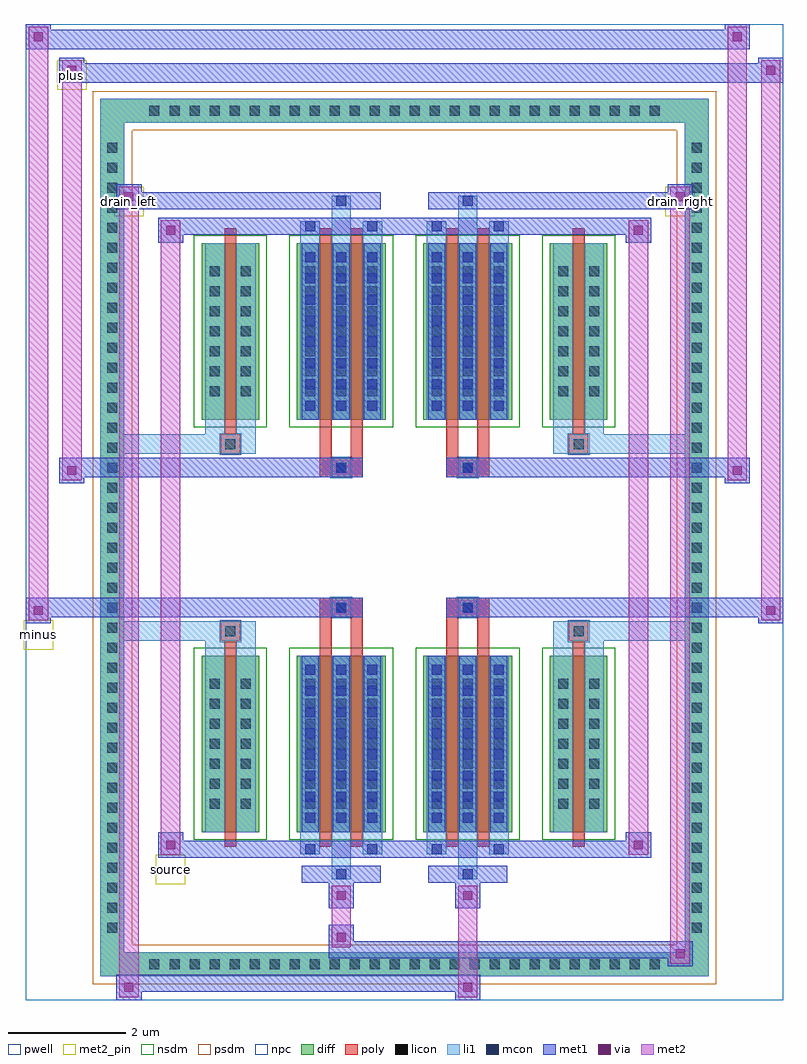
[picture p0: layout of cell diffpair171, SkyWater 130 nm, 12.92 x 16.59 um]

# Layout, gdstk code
import gdstk
lib = gdstk.Library(unit=1e-6, precision=5e-09)
def R(c, l, rs):  # rectangles x0, y0, x1, y1
    for r in rs: c.add(gdstk.rectangle(r[:2], r[2:], *l))
def A(c, l, x, y, w, h, nx, ny, dx, dy):  # array of equal rectangles
    R(c, l, [(x+i*dx, y+j*dy, x+i*dx+w, y+j*dy+h) for i in range(nx) for j in range(ny)])
def P(c, l, *ps):  # polygons
    for p in ps: c.add(gdstk.Polygon(p, *l))
pwell = (64, 44)
diff = (65, 20)
poly = (66, 20)
licon = (66, 44)
li1 = (67, 20)
mcon = (67, 44)
met1 = (68, 20)
via = (68, 44)
met2_pin = (69, 16)
met2 = (69, 20)
nsdm = (93, 44)
psdm = (94, 20)
npc = (95, 20)

diffpair171 = lib.new_cell('diffpair171')
R(diffpair171, pwell, [(-6.44,-7.86,6.44,8.73), (-3.76,-6.05,-0.01,-0.825), (0.01,-6.05,3.76,-0.825), (-3.76,0.825,-0.01,6.05), (0.01,0.825,3.76,6.05)])
A(diffpair171, diff, -4.455, -7.46, 0.41, 0.41, 26, 2, 0.34, 14.51)
A(diffpair171, diff, -5.17, -6.835, 0.41, 0.41, 1, 40, 0, 0.34)
A(diffpair171, diff, 4.76, -6.835, 0.41, 0.41, 1, 40, 0, 0.34)
R(diffpair171, diff, [(-4.455,-7.46,4.455,-7.05), (-5.17,-6.835,-4.76,6.835), (4.76,-6.835,5.17,6.835), (-3.45,-5.005,-2.47,-2.005), (-1.83,-5.005,-0.32,-2.005), (0.32,-5.005,1.83,-2.005), (2.47,-5.005,3.45,-2.005), (-3.45,2.005,-2.47,5.005), (-1.83,2.005,-0.32,5.005), (0.32,2.005,1.83,5.005), (2.47,2.005,3.45,5.005), (-4.455,7.05,4.455,7.46)])
P(diffpair171, diff, [(5.17,7.46),(-5.17,7.46),(-5.17,-7.05),(-4.76,-7.05),(-4.76,7.05),(4.76,7.05),(4.76,-7.05),(-4.76,-7.05),(-5.17,-7.05),(-5.17,-7.46),(5.17,-7.46)])
R(diffpair171, poly, [(-3.06,-5.255,-2.86,-1.755), (-1.44,-5.255,-1.24,-1.755), (-0.91,-5.255,-0.71,-1.755), (0.71,-5.255,0.91,-1.755), (1.24,-5.255,1.44,-1.755), (2.86,-5.255,3.06,-1.755), (-3.125,-1.755,-2.795,-1.425), (-3.125,-1.755,-2.795,-1.425), (-1.44,-1.755,-1.24,-1.355), (-0.91,-1.755,-0.71,-1.355), (0.71,-1.755,0.91,-1.355), (1.24,-1.755,1.44,-1.355), (2.795,-1.755,3.125,-1.425), (2.795,-1.755,3.125,-1.425), (-1.44,-1.355,-0.71,-1.025), (-1.24,-1.355,-0.91,-1.025), (0.71,-1.355,1.44,-1.025), (0.91,-1.355,1.24,-1.025), (-1.44,1.025,-0.71,1.355), (-1.24,1.025,-0.91,1.355), (0.71,1.025,1.44,1.355), (0.91,1.025,1.24,1.355), (-1.44,1.355,-1.24,1.755), (-0.91,1.355,-0.71,1.755), (0.71,1.355,0.91,1.755), (1.24,1.355,1.44,1.755), (-3.125,1.425,-2.795,1.755), (-3.125,1.425,-2.795,1.755), (2.795,1.425,3.125,1.755), (2.795,1.425,3.125,1.755), (-3.06,1.755,-2.86,5.255), (-1.44,1.755,-1.24,5.255), (-0.91,1.755,-0.71,5.255), (0.71,1.755,0.91,5.255), (1.24,1.755,1.44,5.255), (2.86,1.755,3.06,5.255)])
A(diffpair171, licon, -4.335, -7.34, 0.17, 0.17, 26, 2, 0.34, 14.51)
A(diffpair171, licon, -5.05, -6.715, 0.17, 0.17, 1, 40, 0, 0.34)
A(diffpair171, licon, 4.88, -6.715, 0.17, 0.17, 1, 40, 0, 0.34)
A(diffpair171, licon, -3.31, -4.61, 0.17, 0.17, 1, 7, 0, 0.34)
A(diffpair171, licon, -2.78, -4.61, 0.17, 0.17, 1, 7, 0, 0.34)
A(diffpair171, licon, -1.69, -4.61, 0.17, 0.17, 3, 7, 0.53, 0.34)
A(diffpair171, licon, 0.46, -4.61, 0.17, 0.17, 3, 7, 0.53, 0.34)
A(diffpair171, licon, 2.61, -4.61, 0.17, 0.17, 1, 7, 0, 0.34)
A(diffpair171, licon, 3.14, -4.61, 0.17, 0.17, 1, 7, 0, 0.34)
A(diffpair171, licon, -3.31, 2.4, 0.17, 0.17, 1, 7, 0, 0.34)
A(diffpair171, licon, -2.78, 2.4, 0.17, 0.17, 1, 7, 0, 0.34)
A(diffpair171, licon, -1.69, 2.4, 0.17, 0.17, 3, 7, 0.53, 0.34)
A(diffpair171, licon, 0.46, 2.4, 0.17, 0.17, 3, 7, 0.53, 0.34)
A(diffpair171, licon, 2.61, 2.4, 0.17, 0.17, 1, 7, 0, 0.34)
A(diffpair171, licon, 3.14, 2.4, 0.17, 0.17, 1, 7, 0, 0.34)
R(diffpair171, licon, [(-3.045,-1.675,-2.875,-1.505), (2.875,-1.675,3.045,-1.505), (-1.16,-1.275,-0.99,-1.105), (0.99,-1.275,1.16,-1.105), (-1.16,1.105,-0.99,1.275), (0.99,1.105,1.16,1.275), (-3.045,1.505,-2.875,1.675), (2.875,1.505,3.045,1.675)])
A(diffpair171, li1, -4.415, -7.42, 0.33, 0.33, 26, 2, 0.34, 14.51)
A(diffpair171, li1, -5.13, -6.795, 0.33, 0.33, 1, 40, 0, 0.34)
A(diffpair171, li1, 4.8, -6.795, 0.33, 0.33, 1, 40, 0, 0.34)
A(diffpair171, li1, -1.77, -5.005, 0.33, 3, 3, 2, 0.53, 7.01)
A(diffpair171, li1, 0.38, -5.005, 0.33, 3, 3, 2, 0.53, 7.01)
A(diffpair171, li1, -1.69, -4.85, 0.17, 0.17, 3, 8, 0.53, 0.36)
A(diffpair171, li1, -1.69, -4.85, 0.17, 2.69, 3, 2, 0.53, 7.01)
A(diffpair171, li1, 0.46, -4.85, 0.17, 0.17, 3, 8, 0.53, 0.36)
A(diffpair171, li1, 0.46, -4.85, 0.17, 2.69, 3, 2, 0.53, 7.01)
A(diffpair171, li1, -3.39, -4.69, 0.33, 0.33, 1, 7, 0, 0.34)
A(diffpair171, li1, -2.86, -4.69, 0.33, 0.33, 1, 7, 0, 0.34)
A(diffpair171, li1, -1.77, -4.69, 0.33, 0.33, 3, 7, 0.53, 0.34)
A(diffpair171, li1, 0.38, -4.69, 0.33, 0.33, 3, 7, 0.53, 0.34)
A(diffpair171, li1, 2.53, -4.69, 0.33, 0.33, 1, 7, 0, 0.34)
A(diffpair171, li1, 3.06, -4.69, 0.33, 0.33, 1, 7, 0, 0.34)
A(diffpair171, li1, -1.69, 2.16, 0.17, 0.17, 3, 8, 0.53, 0.36)
A(diffpair171, li1, 0.46, 2.16, 0.17, 0.17, 3, 8, 0.53, 0.36)
A(diffpair171, li1, -3.39, 2.32, 0.33, 0.33, 1, 7, 0, 0.34)
A(diffpair171, li1, -2.86, 2.32, 0.33, 0.33, 1, 7, 0, 0.34)
A(diffpair171, li1, -1.77, 2.32, 0.33, 0.33, 3, 7, 0.53, 0.34)
A(diffpair171, li1, 0.38, 2.32, 0.33, 0.33, 3, 7, 0.53, 0.34)
A(diffpair171, li1, 2.53, 2.32, 0.33, 0.33, 1, 7, 0, 0.34)
A(diffpair171, li1, 3.06, 2.32, 0.33, 0.33, 1, 7, 0, 0.34)
R(diffpair171, li1, [(-5.17,-7.46,-4.76,-7.05), (-5.17,-7.46,-4.76,-7.05), (-4.76,-7.46,4.76,-7.05), (4.76,-7.46,5.17,-7.05), (4.76,-7.46,5.17,-7.05), (-5.17,-7.05,-4.76,7.05), (4.76,-7.05,5.17,7.05), (-1.24,-5.81,-0.91,-5.005), (-1.16,-5.81,-0.99,-5.64), (0.91,-5.81,1.24,-5.005), (0.99,-5.81,1.16,-5.64), (-1.77,-5.38,-1.44,-5.005), (-1.69,-5.38,-1.52,-5.21), (-0.71,-5.38,-0.38,-5.005), (-0.63,-5.38,-0.46,-5.21), (0.38,-5.38,0.71,-5.005), (0.46,-5.38,0.63,-5.21), (1.44,-5.38,1.77,-5.005), (1.52,-5.38,1.69,-5.21), (-3.39,-5.005,-3.06,-2.005), (-2.86,-5.005,-2.53,-2.005), (2.53,-5.005,2.86,-2.005), (3.06,-5.005,3.39,-2.005), (-3.39,-2.005,-3.06,-1.425), (-2.86,-2.005,-2.53,-1.425), (2.53,-2.005,2.86,-1.425), (3.06,-2.005,3.39,-1.425), (-5.17,-1.755,-3.125,-1.425), (-3.39,-1.755,-3.125,-1.425), (-3.125,-1.755,-2.795,-1.425), (-2.795,-1.755,-2.53,-1.425), (2.53,-1.755,2.795,-1.425), (2.795,-1.755,3.125,-1.425), (2.795,-1.755,5.17,-1.425), (3.125,-1.755,3.39,-1.425), (-1.24,-1.355,-0.91,-1.025), (0.91,-1.355,1.24,-1.025), (-1.24,1.025,-0.91,1.355), (0.91,1.025,1.24,1.355), (-5.17,1.425,-3.125,1.755), (-3.39,1.425,-3.125,1.755), (-3.39,1.425,-3.06,2.005), (-3.125,1.425,-2.795,1.755), (-2.86,1.425,-2.53,2.005), (-2.795,1.425,-2.53,1.755), (2.53,1.425,2.795,1.755), (2.53,1.425,2.86,2.005), (2.795,1.425,3.125,1.755), (2.795,1.425,5.17,1.755), (3.06,1.425,3.39,2.005), (3.125,1.425,3.39,1.755), (-3.39,2.005,-3.06,5.005), (-2.86,2.005,-2.53,5.005), (2.53,2.005,2.86,5.005), (3.06,2.005,3.39,5.005), (-1.77,5.005,-1.44,5.38), (-1.24,5.005,-0.91,5.81), (-0.71,5.005,-0.38,5.38), (0.38,5.005,0.71,5.38), (0.91,5.005,1.24,5.81), (1.44,5.005,1.77,5.38), (-1.69,5.21,-1.52,5.38), (-0.63,5.21,-0.46,5.38), (0.46,5.21,0.63,5.38), (1.52,5.21,1.69,5.38), (-1.16,5.64,-0.99,5.81), (0.99,5.64,1.16,5.81), (-5.17,7.05,-4.76,7.46), (-5.17,7.05,-4.76,7.46), (-4.76,7.05,4.76,7.46), (4.76,7.05,5.17,7.46), (4.76,7.05,5.17,7.46)])
A(diffpair171, mcon, -1.69, -4.85, 0.17, 0.17, 3, 8, 0.53, 0.36)
A(diffpair171, mcon, 0.46, -4.85, 0.17, 0.17, 3, 8, 0.53, 0.36)
A(diffpair171, mcon, -1.69, 2.16, 0.17, 0.17, 3, 8, 0.53, 0.36)
A(diffpair171, mcon, 0.46, 2.16, 0.17, 0.17, 3, 8, 0.53, 0.36)
R(diffpair171, mcon, [(-1.16,-5.81,-0.99,-5.64), (0.99,-5.81,1.16,-5.64), (-1.69,-5.38,-1.52,-5.21), (-0.63,-5.38,-0.46,-5.21), (0.46,-5.38,0.63,-5.21), (1.52,-5.38,1.69,-5.21), (-1.16,-1.275,-0.99,-1.105), (0.99,-1.275,1.16,-1.105), (-1.16,1.105,-0.99,1.275), (0.99,1.105,1.16,1.275), (-1.69,5.21,-1.52,5.38), (-0.63,5.21,-0.46,5.38), (0.46,5.21,0.63,5.38), (1.52,5.21,1.69,5.38), (-1.16,5.64,-0.99,5.81), (0.99,5.64,1.16,5.81)])
A(diffpair171, met1, -1.75, -5.005, 0.29, 3, 3, 2, 0.53, 7.01)
A(diffpair171, met1, 0.4, -5.005, 0.29, 3, 3, 2, 0.53, 7.01)
A(diffpair171, met1, -1.75, -4.91, 0.29, 0.29, 3, 8, 0.53, 0.36)
A(diffpair171, met1, 0.4, -4.91, 0.29, 0.29, 3, 8, 0.53, 0.36)
A(diffpair171, met1, -1.75, 2.1, 0.29, 0.29, 3, 8, 0.53, 0.36)
A(diffpair171, met1, 0.4, 2.1, 0.29, 0.29, 3, 8, 0.53, 0.36)
R(diffpair171, met1, [(-4.9,-7.86,-4.47,-7.43), (0.86,-7.86,1.29,-7.43), (-4.9,-7.72,1.29,-7.43), (4.47,-7.29,4.9,-6.86), (-1.29,-7.15,4.9,-6.86), (-1.29,-7.01,-0.86,-6.58), (-1.29,-6.3,-0.86,-5.87), (0.86,-6.3,1.29,-5.87), (-1.75,-5.87,-0.4,-5.58), (-1.22,-5.87,-0.93,-5.58), (0.4,-5.87,1.75,-5.58), (0.93,-5.87,1.22,-5.58), (-4.19,-5.44,-3.76,-5.01), (-4.19,-5.44,-1.75,-5.15), (-1.75,-5.44,-1.46,-5.15), (-1.75,-5.44,-0.4,-5.15), (-0.69,-5.44,-0.4,-5.15), (-0.4,-5.44,0.4,-5.15), (0.4,-5.44,0.69,-5.15), (0.4,-5.44,1.75,-5.15), (1.46,-5.44,1.75,-5.15), (1.75,-5.44,4.19,-5.15), (3.76,-5.44,4.19,-5.01), (-6.44,-1.455,-6.01,-1.025), (6.01,-1.455,6.44,-1.025), (-6.44,-1.355,-0.71,-1.025), (-1.44,-1.355,-0.71,-1.025), (0.71,-1.355,1.44,-1.025), (0.71,-1.355,6.44,-1.025), (-1.22,-1.335,-0.93,-1.045), (0.93,-1.335,1.22,-1.045), (-5.87,0.925,-5.44,1.355), (5.44,0.925,5.87,1.355), (-5.87,1.025,-1.44,1.355), (-1.44,1.025,-0.71,1.355), (0.71,1.025,1.44,1.355), (1.44,1.025,5.87,1.355), (-1.22,1.045,-0.93,1.335), (0.93,1.045,1.22,1.335), (-4.19,5.01,-3.76,5.44), (3.76,5.01,4.19,5.44), (-4.19,5.15,-1.75,5.44), (-1.75,5.15,-1.46,5.44), (-1.75,5.15,-0.4,5.44), (-0.69,5.15,-0.4,5.44), (-0.4,5.15,0.4,5.44), (0.4,5.15,0.69,5.44), (0.4,5.15,1.75,5.44), (1.46,5.15,1.75,5.44), (1.75,5.15,4.19,5.44), (-4.9,5.58,-4.47,6.01), (-4.9,5.58,-1.75,5.87), (-1.75,5.58,-0.4,5.87), (-1.22,5.58,-0.93,5.87), (0.4,5.58,1.75,5.87), (0.93,5.58,1.22,5.87), (1.75,5.58,4.9,5.87), (4.47,5.58,4.9,6.01), (-5.87,7.73,-5.44,8.16), (-5.87,7.73,-3.76,8.06), (-3.76,7.73,3.76,8.06), (3.76,7.73,6.44,8.06), (6.01,7.73,6.44,8.16), (-6.44,8.3,-6.01,8.73), (-6.44,8.3,-3.76,8.63), (-3.76,8.3,3.76,8.63), (3.76,8.3,5.87,8.63), (5.44,8.3,5.87,8.73)])
R(diffpair171, via, [(-4.76,-7.72,-4.61,-7.57), (1,-7.72,1.15,-7.57), (4.61,-7.15,4.76,-7), (-1.15,-6.87,-1,-6.72), (-1.15,-6.16,-1,-6.01), (1,-6.16,1.15,-6.01), (-4.05,-5.3,-3.9,-5.15), (3.9,-5.3,4.05,-5.15), (-6.3,-1.315,-6.15,-1.165), (6.15,-1.315,6.3,-1.165), (-5.73,1.065,-5.58,1.215), (5.58,1.065,5.73,1.215), (-4.05,5.15,-3.9,5.3), (3.9,5.15,4.05,5.3), (-4.76,5.72,-4.61,5.87), (4.61,5.72,4.76,5.87), (-5.73,7.87,-5.58,8.02), (6.15,7.87,6.3,8.02), (-6.3,8.44,-6.15,8.59), (5.58,8.44,5.73,8.59)])
R(diffpair171, met2_pin, [(-4.225,-5.89,-3.725,-5.39), (-6.475,-1.905,-5.975,-1.405), (-4.935,5.46,-4.435,5.96), (4.435,5.46,4.935,5.96), (-5.905,7.61,-5.405,8.11)])
R(diffpair171, met2, [(-4.85,-7.81,-4.52,-7.48), (-4.85,-7.81,-4.52,5.96), (0.91,-7.81,1.24,-7.48), (0.91,-7.48,1.24,-6.25), (4.52,-7.24,4.85,-6.91), (4.52,-7.24,4.85,5.96), (-1.24,-6.96,-0.91,-6.63), (-1.24,-6.63,-0.91,-6.25), (-1.24,-6.25,-0.91,-5.92), (0.91,-6.25,1.24,-5.92), (-4.14,-5.39,-3.81,-5.06), (-4.14,-5.39,-3.81,5.39), (3.81,-5.39,4.14,-5.06), (3.81,-5.39,4.14,5.39), (-6.39,-1.405,-6.06,-1.075), (-6.39,-1.405,-6.06,8.68), (6.06,-1.405,6.39,-1.075), (6.06,-1.405,6.39,8.11), (-5.82,0.975,-5.49,1.305), (-5.82,0.975,-5.49,8.11), (5.49,0.975,5.82,1.305), (5.49,0.975,5.82,8.68), (-4.14,5.06,-3.81,5.39), (3.81,5.06,4.14,5.39), (-4.85,5.63,-4.52,5.96), (4.52,5.63,4.85,5.96), (-5.82,7.78,-5.49,8.11), (6.06,7.78,6.39,8.11), (-6.39,8.35,-6.06,8.68), (5.49,8.35,5.82,8.68)])
P(diffpair171, met2, [(6.39,-1.405),(6.39,-1.405),(6.39,-1.075),(6.39,-1.075)],
  [(6.39,7.78),(6.39,7.78),(6.39,8.11),(6.39,8.11)],
  [(-6.06,-1.405),(-6.06,-1.405),(-6.06,-1.075),(-6.06,-1.075)],
  [(-6.06,8.35),(-6.06,8.35),(-6.06,8.68),(-6.06,8.68)],
  [(5.82,0.975),(5.82,0.975),(5.82,1.305),(5.82,1.305)],
  [(5.82,8.35),(5.82,8.35),(5.82,8.68),(5.82,8.68)],
  [(-5.49,0.975),(-5.49,0.975),(-5.49,1.305),(-5.49,1.305)],
  [(-5.49,7.78),(-5.49,7.78),(-5.49,8.11),(-5.49,8.11)],
  [(-4.52,-7.81),(-4.52,-7.81),(-4.52,-7.48),(-4.52,-7.48)],
  [(-4.52,5.63),(-4.52,5.63),(-4.52,5.96),(-4.52,5.96)],
  [(4.85,-7.24),(4.85,-7.24),(4.85,-6.91),(4.85,-6.91)],
  [(4.85,5.63),(4.85,5.63),(4.85,5.96),(4.85,5.96)],
  [(-3.81,-5.39),(-3.81,-5.39),(-3.81,-5.06),(-3.81,-5.06)],
  [(-3.81,5.06),(-3.81,5.06),(-3.81,5.39),(-3.81,5.39)],
  [(4.14,-5.39),(4.14,-5.39),(4.14,-5.06),(4.14,-5.06)],
  [(4.14,5.06),(4.14,5.06),(4.14,5.39),(4.14,5.39)])
R(diffpair171, nsdm, [(-3.58,-5.135,-2.34,-1.875), (-1.96,-5.135,-0.19,-1.875), (0.19,-5.135,1.96,-1.875), (2.34,-5.135,3.58,-1.875), (-3.58,1.875,-2.34,5.135), (-1.96,1.875,-0.19,5.135), (0.19,1.875,1.96,5.135), (2.34,1.875,3.58,5.135)])
P(diffpair171, psdm, [(5.3,7.59),(-5.3,7.59),(-5.3,-6.92),(-4.63,-6.92),(-4.63,6.92),(4.63,6.92),(4.63,-6.92),(-4.63,-6.92),(-5.3,-6.92),(-5.3,-7.59),(5.3,-7.59)])
R(diffpair171, npc, [(-3.145,-1.775,-2.775,-1.405), (2.775,-1.775,3.145,-1.405), (-1.26,-1.375,-0.89,-1.005), (0.89,-1.375,1.26,-1.005), (-1.26,1.005,-0.89,1.375), (0.89,1.005,1.26,1.375), (-3.145,1.405,-2.775,1.775), (2.775,1.405,3.145,1.775)])
diffpair171.add(gdstk.Label('minus', (-6.225,-1.655), layer=69, texttype=5))
diffpair171.add(gdstk.Label('drain_right', (4.685,5.71), layer=69, texttype=5))
diffpair171.add(gdstk.Label('drain_left', (-4.685,5.71), layer=69, texttype=5))
diffpair171.add(gdstk.Label('source', (-3.975,-5.64), layer=69, texttype=5))
diffpair171.add(gdstk.Label('plus', (-5.655,7.86), layer=69, texttype=5))

lib.write_gds('diffpair171.gds')
